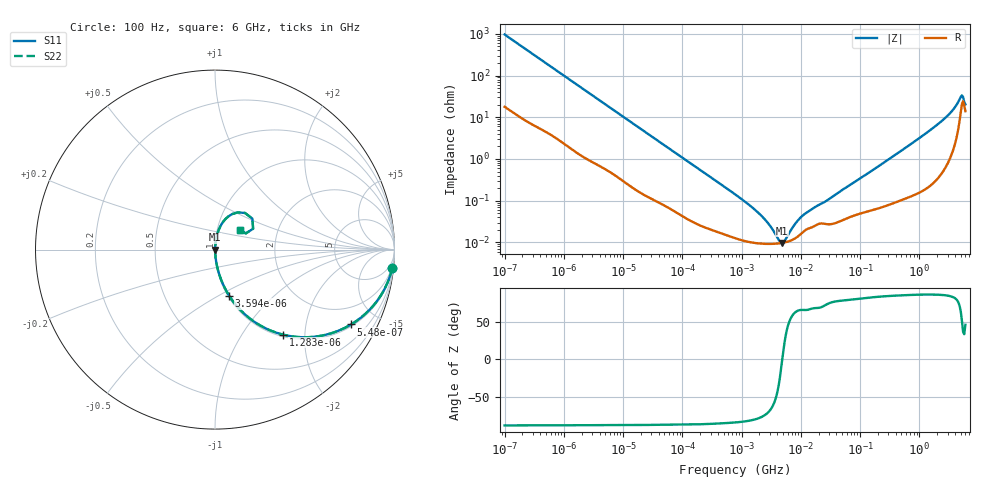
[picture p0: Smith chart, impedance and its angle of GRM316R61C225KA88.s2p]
!Murata Part Number: GRM316R61C225KA88
!These Parameters are Measured in Series Mode Connection
!Data Generated on Mar 30, 2021
!  o--ll--o
!Port1  Port2
!  o------o
!Operation Temp=25[degC], DC Bias Voltage=0[V]
!Freq. Start=100[Hz] Stop=6[GHz] 401[Steps]
# Hz S RI R 50
!Freq.(Hz) S11(Real) S11(Imag) S21(Real) S21(Imag) S12(Real) S12(Imag) S22(Real) S22(Imag)
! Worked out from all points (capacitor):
!   401 points, 100 Hz to 6 GHz, reference 50 ohm
!   read as one part in series: C = 1.65 uF near 109 Hz
!   lowest |Z| = 9.74 mohm at 4.857 MHz (marker M1)
!   series resonance near 4.861 MHz, so ESL is about 650 pH
!   S11 on the Smith chart (normalised r, x): 100 Hz: 1, -19; 548 Hz: 1.08, -3.59; 1.283 kHz: 1.04, -1.55; 3.594 kHz: 1.01, -0.56; 6 GHz: 1.28, +0.30
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100  0.9875 -0.1023  0.0125 0.1023  0.0125 0.1023  0.9875 -0.1023
268  0.9254 -0.253  0.0746 0.253  0.0746 0.253  0.9254 -0.253
548  0.758 -0.417  0.242 0.417  0.242 0.417  0.758 -0.417
1283  0.3792 -0.4737  0.6208 0.4737  0.6208 0.4737  0.3792 -0.4737
2008  0.2052 -0.3922  0.7948 0.3922  0.7948 0.3922  0.2052 -0.3922
3594  0.0791 -0.2571  0.9209 0.2571  0.9209 0.2571  0.0791 -0.2571
10066  0.0132 -0.1008  0.9868 0.1008  0.9868 0.1008  0.0132 -0.1008
40335  0.00158 -0.0261  0.9984 0.0261  0.9984 0.0261  0.00158 -0.0261
774597  0.000129 -0.00142  0.9999 0.00142  0.9999 0.00142  0.000129 -0.00142
2169299  9.35e-05 -0.000423  0.9999 0.000423  0.9999 0.000423  9.35e-05 -0.000423
2967816  9.21e-05 -0.000243  0.9999 0.000243  0.9999 0.000243  9.21e-05 -0.000243
4246196  9.48e-05 -6.43e-05  0.9999 6.43e-05  0.9999 6.43e-05  9.48e-05 -6.43e-05
4856642  9.74e-05 -4e-07  0.9999 4e-07  0.9999 4e-07  9.74e-05 -4e-07
5554849  0.000101 6.36e-05  0.9999 -6.36e-05  0.9999 -6.36e-05  0.000101 6.36e-05
9506416  0.000149 0.00034  0.9999 -0.00034  0.9999 -0.00034  0.000149 0.00034
1.555665e7  0.000232 0.000588  0.9998 -0.000588  0.9998 -0.000588  0.000232 0.000588
3.124326e8  0.000901 0.01  0.9991 -0.01  0.9991 -0.01  0.000901 0.01
2.240541e9  0.0095 0.0741  0.9905 -0.0741  0.9905 -0.0741  0.0095 0.0741
3.8344e9  0.0415 0.1495  0.9585 -0.1495  0.9585 -0.1495  0.0415 0.1495
4.796499e9  0.1263 0.2073  0.8737 -0.2073  0.8737 -0.2073  0.1263 0.2073
5.245841e9  0.2083 0.1726  0.7917 -0.1726  0.7917 -0.1726  0.2083 0.1726
6e9  0.1372 0.1119  0.8628 -0.1119  0.8628 -0.1119  0.1372 0.1119
